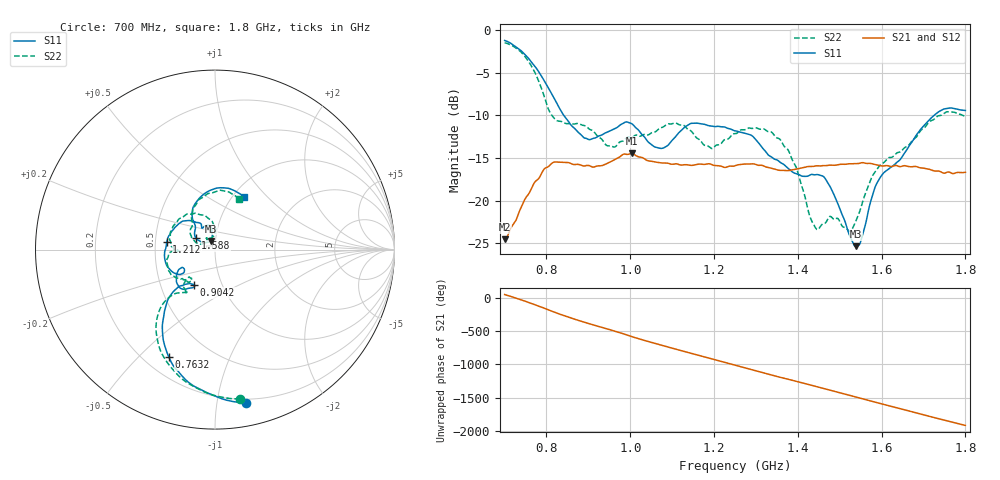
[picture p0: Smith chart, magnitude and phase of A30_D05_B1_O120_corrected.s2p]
! Created with skrf 1.9.0 (http://scikit-rf.org).
# Hz S RI R 50.0
!freq ReS11 ImS11 ReS21 ImS21 ReS12 ImS12 ReS22 ImS22
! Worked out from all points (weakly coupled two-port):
!   1601 points, 700 MHz to 1.8 GHz, reference 50 ohm
!   highest |S21| = -14.47 dB at 1.003 GHz (marker M1); lowest = -24.5 dB at 700 MHz (marker M2)
!   lowest |S11| = -25.3 dB at 1.538 GHz (marker M3), VSWR 1.11, Z = 47.4 + j4.58 ohm
!   |S11| at or under -10 dB: 841.2 MHz to 1.725 GHz (884 MHz wide, 68.9 % of centre)
!   |S22| runs from -23.6 to -1.5 dB; largest |S21 - S12| = 0.0035
!   S11 on the Smith chart (normalised r, x): 700 MHz: 0.17, -1.21; 763.2 MHz: 0.30, -0.62; 904.2 MHz: 0.74, -0.30; 1.212 GHz: 0.57, +0.05; 1.588 GHz: 0.80, +0.11; 1.8 GHz: 1.13, +0.75
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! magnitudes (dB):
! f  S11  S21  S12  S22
! 700 MHz  -1.2  -24.5  -24.3  -1.5
! 763.2 MHz  -3.7  -18.7  -18.7  -4.2
! 816.9 MHz  -7.9  -15.5  -15.6  -10.3
! 883.6 MHz  -12.3  -15.9  -15.8  -11.1
! 904.2 MHz  -12.8  -15.9  -15.9  -11.7
! 957.8 MHz  -11.7  -15.3  -15.3  -13.7
! 1.003 GHz  -11.0  -14.5  -14.6  -12.6
! 1.067 GHz  -13.8  -15.5  -15.5  -11.6
! 1.143 GHz  -11.0  -15.9  -15.9  -11.8
! 1.212 GHz  -11.3  -15.9  -15.9  -13.5
! 1.25 GHz  -11.8  -15.9  -15.8  -12.2
! 1.358 GHz  -15.5  -16.5  -16.4  -12.8
! 1.396 GHz  -16.8  -16.3  -16.3  -16.0
! 1.434 GHz  -16.9  -16.0  -16.0  -22.4
! 1.47 GHz  -17.8  -15.9  -15.9  -22.3
! 1.524 GHz  -24.1  -15.7  -15.7  -23.6
! 1.538 GHz  -25.3  -15.7  -15.7  -22.5
! 1.551 GHz  -24.6  -15.6  -15.6  -20.7
! 1.588 GHz  -18.0  -15.8  -15.8  -16.4
! 1.617 GHz  -16.3  -15.9  -15.9  -15.0
! 1.731 GHz  -9.7  -16.5  -16.5  -10.2
! 1.8 GHz  -9.4  -16.7  -16.7  -10.1
